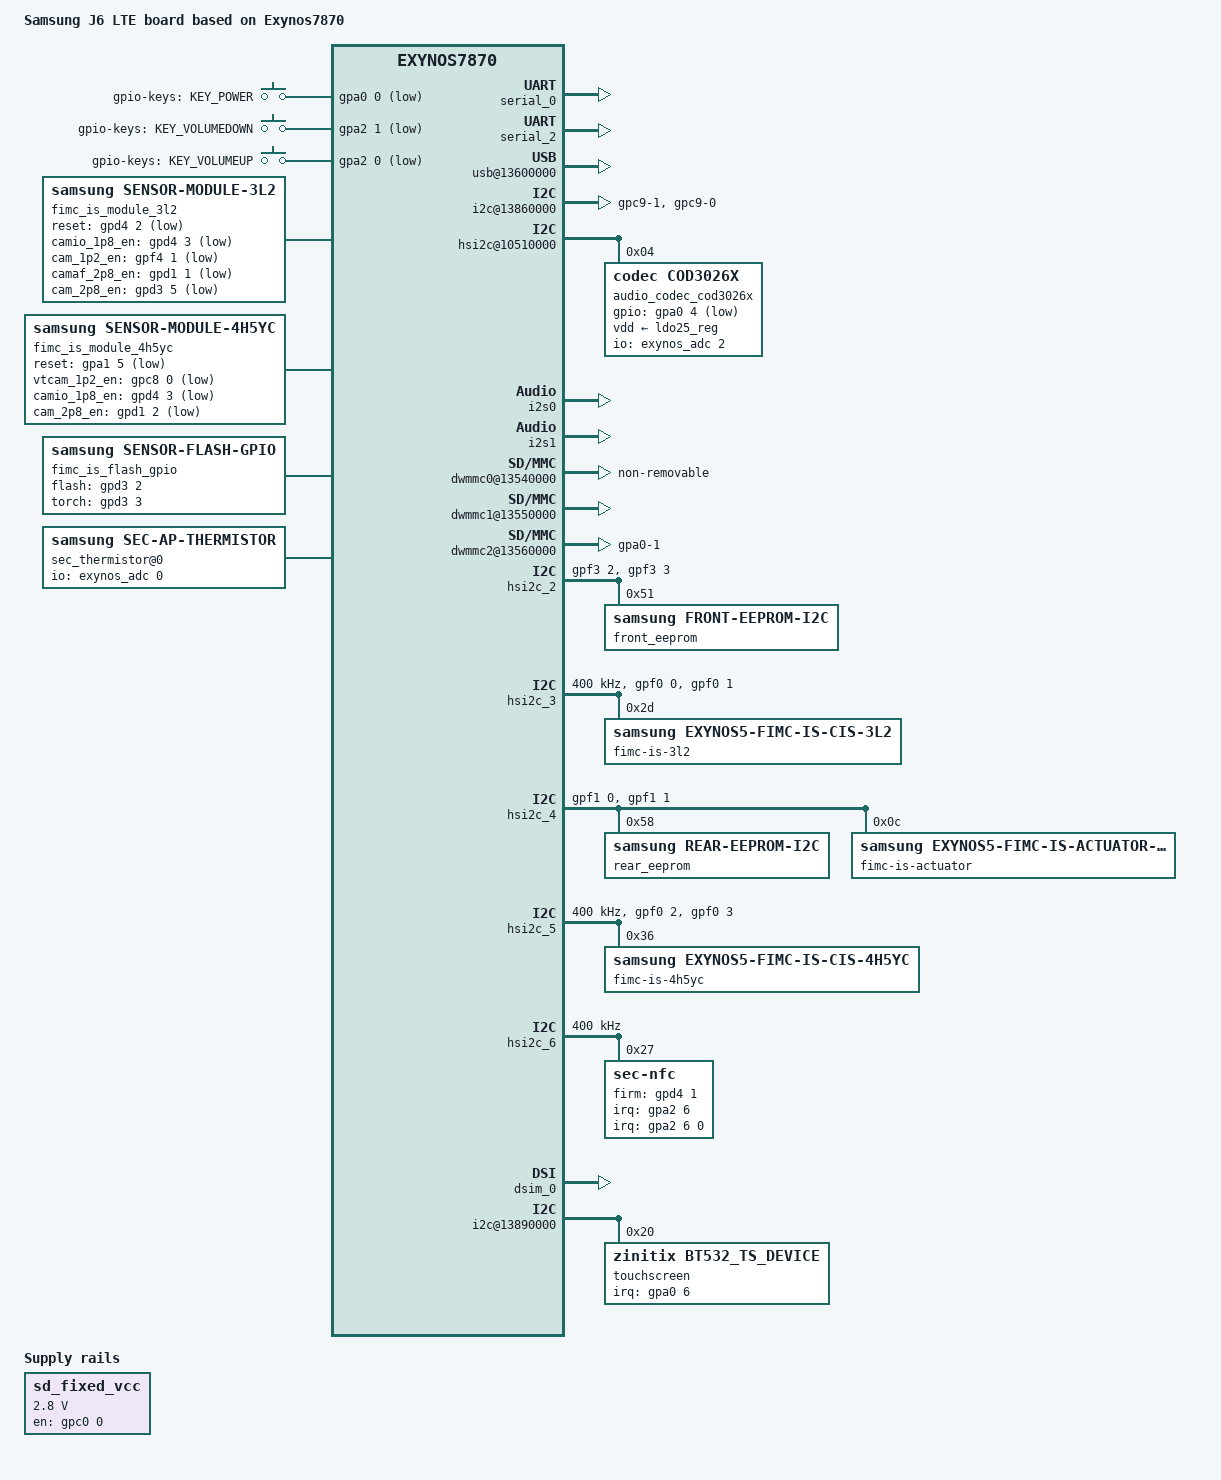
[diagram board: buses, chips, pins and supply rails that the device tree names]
/*
 * SAMSUNG UNIVERSAL8890 board device tree source
 *
 * Copyright (c) 2013 Samsung Electronics Co., Ltd.
 *		http://www.samsung.com
 *
 * This program is free software; you can redistribute it and/or modify
 * it under the terms of the GNU General Public License version 2 as
 * published by the Free Software Foundation.
 */

#include "exynos7870-rmem-2000MB.dtsi"
#include "exynos7870.dtsi"

/ {
	model = "Samsung J6 LTE board based on Exynos7870";
	compatible = "samsung,exynos7870", "samsung,universal7870";

	ect {
		parameter_address = <0x90000000>;
		parameter_size = <0x14000>;	/* u-boot always overwrites this value. */
	};

	memory@40000000 {
		device_type = "memory";
		reg = <0x0 0x40000000 0x3D800000>;
	};

	memory@80000000 {
		device_type = "memory";
		reg = <0x0 0x80000000 0x40000000>;
	};

	memory@100000000 {
		device_type = "memory";
		reg = <0x00000001 0x00000000 0x0>;
	};

	chosen {
		bootargs = "console=ram ess_setup=0x46000000 androidboot.hardware=samsungexynos7870 androidboot.selinux=disabled firmware_class.path=/vendor/firmware androidboot.debug_level=0x4948 reserve-fimc=0";
		linux,initrd-start = <0x42000000>;
		linux,initrd-end = <0x420FFFFF>;
	};

	fixed-rate-clocks {
		oscclk {
			compatible = "samsung,exynos7870-oscclk";
			clock-frequency = <26000000>;
		};
	};

	reserved-memory {
		#address-cells = <2>;
		#size-cells = <1>;
		ranges;

		mfc_fw {
			compatible = "exynos5433-ion,mfc_fw";
			secure;
			reg = <0x0 0xAE800000 0x200000>;
			id = <8>;
		};

		mfc_nfw {
			compatible = "exynos5433-ion,mfc_nfw";
			reg = <0x0 0xAE600000 0x200000>;
			id = <12>;
		};
	};

	serial_0: uart@13810000 {
		status = "okay";
	};

	serial_1: uart@13800000 {
		status = "disabled";
	};

	serial_2: uart@13820000 {
		samsung,uart-logging;
		status = "okay";
	};

	usb@13600000 {
		status = "okay";

		dwc3 {
			maximum-speed = "high-speed";
			dr_mode = "otg";
			is_not_vbus_pad;
		};
	};

	pinctrl_1: pinctrl@148C0000 {
		compatible = "samsung,exynos7870-pinctrl";
		reg = <0x0 0x148C0000 0x1000>;
		interrupts = <0 68 0>;
	};

	pinctrl@139B0000 {
		spk_amp_i2c: spk-amp-i2c {
			samsung,pins = "gpc9-1", "gpc9-0";
			samsung,pin-function = <2>;
			samsung,pin-pud = <0>;
		};
	};

	pinctrl@139F0000 {
		cod3026_irq: cod3026-irq {
			samsung,pins = "gpa0-4";
			samsung,pin-pud = <3>;
			samsung,pin-drv = <3>;
		};
	};

	i2c@13860000 {
		status = "okay";
		samsung,i2c-max-bus-freq = <400000>;
		samsung,i2c-bus-num = <20>;
		pinctrl-names = "default";
		pinctrl-0 = <&spk_amp_i2c>;
	};

	but_zones: but_zones {
		#list-but-cells = <3>;
	};

	hsi2c@10510000 {
		audio_codec_cod3026x: cod3026x@04 {
			compatible = "codec,cod3026x";
			reg = <0x04>;
			ten-bit-address;
			vdd-supply = <&ldo25_reg>;
			pinctrl-names = "default";
			pinctrl-0 = <&cod3026_irq>;
			interrupt-parent = <&gpa0>;
			gpios = <&gpa0 4 0xf>;
			mic-bias1-voltage = <1>;
			mic-bias2-voltage = <1>;
			mic-bias-ldo-voltage = <3>;
			use-det-adc-mode;
			io-channels = <&exynos_adc 2>;
			io-channel-names = "adc-jack";
			#io-channel-cells = <1>;
			io-channel-ranges;
			but-zones-list = <&but_zones 226 0 220>, /* send/end */ 
					<&but_zones 582 221 305>, /* google */
					<&but_zones 115 306 510>, /* vol up */
					<&but_zones 114 511 1107>; /* vol down */
			mic-adc-range = <1347>;
			mic-det-delay = <550>;
		};
	};

	s1402x: s1402x@14880000 {
		pinctrl-names = "default", "idle", "bt", "bt-idle", "fm", "fm-idle";
		pinctrl-0 = <&i2s_pmic_amp_bus
			&i2s_amp_bus>;
		pinctrl-1 = <&i2s_pmic_amp_bus_idle
			&i2s_amp_bus_idle> ;
		pinctrl-2 = <&i2s_bt_bus>;
		pinctrl-3 = <&i2s_bt_bus_idle>;
		pinctrl-4 = <&i2s_bt_bus>;
		pinctrl-5 = <&i2s_bt_bus_idle>;

		bt-fm-combo;
		status = "okay";
	};

	i2s0: i2s@148A0000 {
		status = "okay";
	};

	i2s1: i2s@148B0000 {
		status = "okay";
	};

	audio_cp_dummy: cp_dummy {
			compatible = "samsung,cp_dummy";
			status = "okay";
	};

	audio_fm_dummy: fm_dummy {
			compatible = "samsung,fm_dummy";
			status = "okay";
	};

	audio_bt_dummy: bt_dummy {
			compatible = "samsung,bt_dummy";
			status = "okay";
	};

	audio_codec_dummy: dummy-codec {
			compatible = "samsung,dummy-codec";
			status = "okay";
	};

	sound {
		compatible = "samsung,universal7870-cod3026x";
		samsung,audio-cpu = <&i2s0      /* primary */
			&i2s0                    /* secondary */
			&audio_cp_dummy
			&audio_bt_dummy
			&audio_fm_dummy
			&i2s1			/*AMP for AP */
			&audio_cp_dummy		/*AMP for CP */
			&eax
			&eax
			&eax
			&eax>;
		samsung,audio-codec = <&audio_codec_cod3026x
			&audio_codec_cod3026x
			&audio_codec_cod3026x
			&audio_codec_dummy
			&audio_codec_cod3026x
			&audio_codec_dummy
			&audio_codec_dummy
			&audio_codec_cod3026x
			&audio_codec_cod3026x
			&audio_codec_cod3026x
			&audio_codec_cod3026x>;
		mic-bias-mode = <1 0 2 0>;
		samsung,auxdev = <&s1402x>;
		status = "okay";
	};

	gpio_keys {
		compatible = "gpio-keys";
		pinctrl-names = "default";
		pinctrl-0 = <&key_power &key_voldown &key_volup>;
		#address-cells = <1>;
		#size-cells = <0>;

		button@1 {
			label = "gpio-keys: KEY_POWER";
			interrupts = <0 0 0>;
			interrupt-parent = <&gpa0>;
			linux,code = <116>;
			gpios = <&gpa0 0 0xf>;
			gpio-key,wakeup = <1>;
		};
		button@2 {
			label = "gpio-keys: KEY_VOLUMEDOWN";
			interrupts = <1 0 0>;
			interrupt-parent = <&gpa2>;
			linux,code = <114>;
			gpios = <&gpa2 1 0xf>;
		};
		button@3 {
			label = "gpio-keys: KEY_VOLUMEUP";
			interrupts = <0 0 0>;
			interrupt-parent = <&gpa2>;
			linux,code = <115>;
			gpios = <&gpa2 0 0xf>;
		};
	};

	firmware {
		android {
			compatible = "android,firmware";
			fstab {
				compatible = "android,fstab";
				system {
					compatible = "android,system";
					dev = "/dev/block/platform/13540000.dwmmc0/by-name/SYSTEM";
					type = "ext4";
					mnt_flags = "ro";
					fsmgr_flags = "wait";
				};
				vendor {
					compatible = "android,vendor";
					dev = "/dev/block/platform/13540000.dwmmc0/by-name/VENDOR";
					type = "ext4";
					mnt_flags = "ro";
					fsmgr_flags = "wait";
				};
				odm {
					compatible = "android,odm";
					dev = "/dev/block/platform/13540000.dwmmc0/by-name/ODM";
					type = "ext4";
					mnt_flags = "ro";
					fsmgr_flags = "wait";
				};
			};
		};
	};

	dwmmc0@13540000 {
		status = "okay";
		num-slots = <1>;
		broken-cd;
		use-smu;
		fixed_voltage;
		clock-gate;
		supports-highspeed;
		mmc-ddr-1_8v;
		mmc-hs200-1_8v;
		mmc-hs400-1_8v;
		mmc-shutdown-poweroff;
		pm-skip-mmc-resume-init;
		supports-8bit;
		supports-cmd23;
		supports-erase;
		enable-ulp-mode;
		supports-hs400-enhanced-strobe;
		use-fine-tuning;
		bypass-for-allpass;
		card-init-hwacg-ctrl;
		switch_transfer;
		fifo-depth = <0x40>;
		non-removable;
		desc-size = <4>;
		card-detect-delay = <200>;
		data-timeout = <200>;
		clock-frequency = <800000000>;
		samsung,dw-mshc-ciu-div = <3>;
		samsung,dw-mshc-txdt-crc-timer-fastlimit = <0x34>;
		samsung,dw-mshc-txdt-crc-timer-initval = <0x38>;
		samsung,dw-mshc-ddr200-delay-line = <0x60>;
		samsung,dw-mshc-sdr-timing = <3 0 4 0>;
		samsung,dw-mshc-ddr-timing = <3 0 4 2>;
		samsung,dw-mshc-hs200-timing = <3 0 3 0>;
		samsung,dw-mshc-ddr200-timing = <1 0 4 0>;
		samsung,dw-mshc-ddr200-ulp-timing = <3 0 3 0>;

		num-ref-clks = <12>;
		ciu_clkin = <25 50 50 25 50 100 200 50 50 200 200 200>;

		/* Swapping clock drive strength */
		clk-drive-number = <6>;
		pinctrl-names = "default",
			"fast-slew-rate-1x",
			"fast-slew-rate-2x",
			"fast-slew-rate-3x",
			"fast-slew-rate-4x",
			"fast-slew-rate-5x",
			"fast-slew-rate-6x";
		pinctrl-0 = <&sd0_clk &sd0_cmd &sd0_rdqs &sd0_bus1 &sd0_bus4 &sd0_bus8>;
		pinctrl-1 = <&sd0_clk_fast_slew_rate_1x>;
		pinctrl-2 = <&sd0_clk_fast_slew_rate_2x>;
		pinctrl-3 = <&sd0_clk_fast_slew_rate_3x>;
		pinctrl-4 = <&sd0_clk_fast_slew_rate_4x>;
		pinctrl-5 = <&sd0_clk_fast_slew_rate_5x>;
		pinctrl-6 = <&sd0_clk_fast_slew_rate_6x>;
		slot@0 {
			reg = <0>;
			bus-width = <8>;
		};
	};

	dwmmc1@13550000 {
		status = "okay";
		num-slots = <1>;
		channel = <1>;
		fixed_voltage;
		clock-gate;
		enable-cclk-on-suspend;
		caps-control;
		supports-highspeed;
		supports-4bit;
		keep-power-in-suspend;
		pm-ignore-notify;
		card-detect-type-external;
		use-broken-voltage;
		use-fine-tuning;
		ignore-phase = <(1 << 7)>;
		fifo-depth = <0x40>;
		card-detect-delay = <200>;
		samsung,dw-mshc-ciu-div = <3>;
		samsung,dw-mshc-sdr-timing = <3 0 3 0>;
		samsung,dw-mshc-ddr-timing = <3 0 2 1>;
		samsung,dw-mshc-sdr50-timing = <3 0 4 2>;
		samsung,dw-mshc-sdr104-timing = <3 0 3 0>;
		clk_pin = "gpr2-0";
		clk_addr = "13750000.pinctrl";
		clk_val = <0x2>;
		clk_str_num = <4>;
		num-ref-clks = <9>;
		ciu_clkin = <25 50 50 25 50 100 200 50 50>;

		pinctrl-names = "default";
		pinctrl-0 = <&sd1_clk &sd1_cmd &sd1_bus1 &sd1_bus4>;
		slot@0 {
			reg = <0>;
			bus-width = <4>;
		};
	};

	dwmmc2@13560000 {
		status = "okay";
		num-slots = <1>;
		supports-highspeed;
		supports-4bit;
		supports-cmd23;
		supports-erase;
		sd-uhs-sdr50;
		sd-uhs-sdr104;
		card-detect-gpio;
		clock-gate;
		bypass-smu;
		bypass-for-allpass;
		use-fine-tuning;
		card-init-hwacg-ctrl;
		switch_transfer;
		only_once_tune;
		skip-init-mmc-scan;
		samsung,voltage-int-extra = <0x7>;
		ignore-phase = <(1 << 7)>;
		fifo-depth = <0x40>;
		desc-size = <8>;
		card-detect-delay = <200>;
		data-timeout = <200>;
		hto-timeout = <550>;
		samsung,dw-mshc-ciu-div = <3>;
		clock-frequency = <800000000>;
		samsung,dw-mshc-sdr-timing = <3 0 3 0>;
		samsung,dw-mshc-ddr-timing = <3 0 2 1>;
		samsung,dw-mshc-sdr50-timing = <3 0 4 2>;
		samsung,dw-mshc-sdr104-timing = <3 0 3 0>;

		num-ref-clks = <9>;
		ciu_clkin = <25 50 50 25 50 100 200 50 50>;

		/* Swapping clock drive strength */
		clk-drive-number = <4>;
		pinctrl-names = "default",
			"fast-slew-rate-1x",
			"fast-slew-rate-2x",
			"fast-slew-rate-3x",
			"fast-slew-rate-4x";
		pinctrl-0 = <&sd2_clk &sd2_cmd &sd2_bus1 &sd2_bus4 &dwmmc2_cd_ext_irq>;
		pinctrl-1 = <&sd2_clk_fast_slew_rate_1x>;
		pinctrl-2 = <&sd2_clk_fast_slew_rate_2x>;
		pinctrl-3 = <&sd2_clk_fast_slew_rate_3x>;
		pinctrl-4 = <&sd2_clk_fast_slew_rate_4x>;

		card-detect = <&gpa0 1 0xf>;
		card-detect-gpio;
		sec-sd-slot-type = <2>; /* Hybrid Tray SD slot */

		slot@0 {
			reg = <0>;
			bus-width = <4>;
			disable-wp;
		};
	};

	sd_fixed_vcc: fixedregulator@0 {
		compatible = "regulator-fixed";
		regulator-name = "vmmc";
		gpio = <&gpc0 0 1>;
		regulator-min-microvolt = <2800000>;
		regulator-max-microvolt = <2800000>;
		enable-active-high;
		regulator-initial-mode = <0>;
	};

	pinctrl@139F0000 {
		hall_irq: hall-irq {
			samsung,pins = "gpa1-3";
			samsung,pin-function = <0xf>;
			samsung,pin-pud = <0>;
			samsung,pin-drv = <0>;
		};
	};

	hall {
		status = "okay";
		compatible = "hall";
		pinctrl-names = "default";
		pinctrl-0 = <&hall_irq>;
		hall,gpio_flip_cover = <&gpa1 3 0>;
	};

	sec_vib {
		compatible = "sec_vib";
		sec_vib_pdata {
			status = "okay";
			sec_vib,max_timeout = <10000>;
			sec_vib,ldo_type = <0>;		/* 0: pmic ldo, 1: external ldo */
			sec_vib,regulator = "VDD_MOTOR_3.3";
		};
	};


	pinctrl@139F0000 {
		key_power: key-power {
			samsung,pins = "gpa0-0";
			samsung,pin-function = <0xf>;
			samsung,pin-pud = <0>;
			samsung,pin-drv = <0>;
		};
		dwmmc2_cd_ext_irq: dwmmc2_cd_ext_irq {
			samsung,pins = "gpa0-1";
			samsung,pin-function = <0xf>;
			samsung,pin-pud = <0>;
			samsung,pin-drv = <0>;
		};

		attn_input: attn-input {
			samsung,pins = "gpa0-6";
			samsung,pin-function = <0>;
			samsung,pin-pud = <0>;
			samsung,pin-drv = <0>;
		};
		attn_irq: attn-irq {
			samsung,pins = "gpa0-6";
			samsung,pin-function = <0xf>;
			samsung,pin-pud = <0>;
			samsung,pin-drv = <0>;
		};

		key_voldown: key-voldown {
			samsung,pins = "gpa2-1";
			samsung,pin-function = <0xf>;
			samsung,pin-pud = <0>;
			samsung,pin-drv = <0>;
		};

		key_volup: key-volup {
			samsung,pins = "gpa2-0";
			samsung,pin-function = <0xf>;
			samsung,pin-pud = <0>;
			samsung,pin-drv = <0>;
		};

		pmic_irq: pmic-irq {
			samsung,pins = "gpa0-2";
			samsung,pin-pud = <3>;
			samsung,pin-drv = <3>;
		};

		cfg_wlanhostwake: cfg-wlanhostwake {
			samsung,pins = "gpa2-2";
			samsung,pin-function = <1>;
			samsung,pin-pud = <3>;
		};

		if_irq: if-irq {
			samsung,pins = "gpa2-7";
			samsung,pin-pud = <3>;
			samsung,pin-drv = <3>;
		};


	};

	pinctrl@139E0000 {
		/* SPI_FP */
		spi1_bus_inactive: spi1-bus-inactive {
			samsung,pins = "gpc7-0", "gpc7-1", "gpc7-3";
			samsung,pin-function = <1>;
			samsung,pin-pud = <0>;
			samsung,pin-drv = <2>;
		};
		spi1_miso_inactive: spi1-miso-inactive {
			samsung,pins = "gpc7-2";
			samsung,pin-function = <0>;
			samsung,pin-pud = <1>;
			samsung,pin-drv = <2>;
		};
		spi1_clk: spi1-clk {
			samsung,pins = "gpc7-0";
			samsung,pin-function = <2>;
			samsung,pin-pud = <1>;
			samsung,pin-drv = <2>;
		};
		spi1_cs: spi1-cs {
			samsung,pins = "gpc7-1";
			samsung,pin-function = <2>;
			samsung,pin-pud = <3>;
			samsung,pin-drv = <2>;
		};
		spi1_miso: spi1-miso {
			samsung,pins = "gpc7-2";
			samsung,pin-function = <2>;
			samsung,pin-pud = <0>;
			samsung,pin-drv = <2>;
		};
		spi1_mosi: spi1-mosi {
			samsung,pins = "gpc7-3";
			samsung,pin-function = <2>;
			samsung,pin-pud = <1>;
			samsung,pin-drv = <2>;
		};
	};

	pinctrl@139B0000 {
		/* Warm reset information from AP */
		pm_wrsti: pm-wrsti {
			samsung,pins = "gpd1-0";
			samsung,pin-con-pdn = <3>;
		};
	};

	pinctrl@139B0000 {
		cfg_wlanen: cfg-wlanen  {       /* WLAN_EN */
			samsung,pins = "gpd3-6";
			samsung,pin-function = <1>;
			samsung,pin-pud = <0>;
			samsung,pin-drv = <3>;
			samsung,pin-con-pdn = <3>;
			samsung,pin-pud-pdn = <0>;
			samsung,pin-val = <0>;
		};
	};

	ion {
		compatible = "samsung,exynos5430-ion";
	};

	tmuctrl_0: tmuctrl_CPUCL0@10130000 {
		compatible = "samsung,exynos7870-tmu";
		reg = <0x0 0x10130000 0x200>;
		interrupts = <0 435 0>;
		max_trigger_level = <8>;
		non_hw_trigger_levels = <7>;

		/* Throttling Level */
		trigger_levels_0 = <76>;
		trigger_levels_1 = <81>;
		trigger_levels_2 = <86>;
		trigger_levels_3 = <91>;
		trigger_levels_4 = <96>;
		trigger_levels_5 = <101>;
		trigger_levels_6 = <111>;
		trigger_levels_7 = <115>;

		trigger_enable_0 = <ENABLE>;
		trigger_enable_1 = <ENABLE>;
		trigger_enable_2 = <ENABLE>;
		trigger_enable_3 = <ENABLE>;
		trigger_enable_4 = <ENABLE>;
		trigger_enable_5 = <ENABLE>;
		trigger_enable_6 = <ENABLE>;
		trigger_enable_7 = <ENABLE>;

		trigger_type_0 = <THROTTLE_ACTIVE>;
		trigger_type_1 = <THROTTLE_ACTIVE>;
		trigger_type_2 = <THROTTLE_ACTIVE>;
		trigger_type_3 = <THROTTLE_ACTIVE>;
		trigger_type_4 = <THROTTLE_ACTIVE>;
		trigger_type_5 = <THROTTLE_ACTIVE>;
		trigger_type_6 = <THROTTLE_ACTIVE>;
		trigger_type_7 = <HW_TRIP>;

		freq_tab_count = <5>;

		freq_clip_max_0 = <1586000>;
		freq_clip_max_1 = <1248000>;
		freq_clip_max_2 = <1248000>;
		freq_clip_max_3 = <546000>;
		freq_clip_max_4 = <546000>;

		cooling_level_0 = <76>;
		cooling_level_1 = <81>;
		cooling_level_2 = <86>;
		cooling_level_3 = <91>;
		cooling_level_4 = <96>;
	};

	tmuctrl_1: tmuctrl_CPUCL1@10130000 {
		compatible = "samsung,exynos7870-tmu";
		reg = <0x0 0x10130000 0x200>;
		interrupts = <0 435 0>;
		max_trigger_level = <8>;
		non_hw_trigger_levels = <7>;

		/* Throttling Level */
		trigger_levels_0 = <76>;
		trigger_levels_1 = <81>;
		trigger_levels_2 = <86>;
		trigger_levels_3 = <91>;
		trigger_levels_4 = <96>;
		trigger_levels_5 = <101>;
		trigger_levels_6 = <111>;
		trigger_levels_7 = <115>;

		trigger_enable_0 = <ENABLE>;
		trigger_enable_1 = <ENABLE>;
		trigger_enable_2 = <ENABLE>;
		trigger_enable_3 = <ENABLE>;
		trigger_enable_4 = <ENABLE>;
		trigger_enable_5 = <ENABLE>;
		trigger_enable_6 = <ENABLE>;
		trigger_enable_7 = <ENABLE>;

		trigger_type_0 = <THROTTLE_ACTIVE>;
		trigger_type_1 = <THROTTLE_ACTIVE>;
		trigger_type_2 = <THROTTLE_ACTIVE>;
		trigger_type_3 = <THROTTLE_ACTIVE>;
		trigger_type_4 = <THROTTLE_ACTIVE>;
		trigger_type_5 = <THROTTLE_ACTIVE>;
		trigger_type_6 = <THROTTLE_ACTIVE>;
		trigger_type_7 = <HW_TRIP>;

		freq_tab_count = <5>;

		freq_clip_max_0 = <1586000>;
		freq_clip_max_1 = <1248000>;
		freq_clip_max_2 = <1248000>;
		freq_clip_max_3 = <546000>;
		freq_clip_max_4 = <546000>;

		cooling_level_0 = <76>;
		cooling_level_1 = <81>;
		cooling_level_2 = <86>;
		cooling_level_3 = <91>;
		cooling_level_4 = <96>;

		hotplug_enable = <1>;
		hotplug_in_threshold = <91>;
		hotplug_out_threshold = <96>;
	};

	tmuctrl_2: tmuctrl_G3D@10130000 {
		compatible = "samsung,exynos7870-tmu";
		reg = <0x0 0x10130000 0x200>;
		interrupts = <0 435 0>;
		max_trigger_level = <8>;
		non_hw_trigger_levels = <7>;

		/* Throttling Level */
		trigger_levels_0 = <76>;
		trigger_levels_1 = <81>;
		trigger_levels_2 = <86>;
		trigger_levels_3 = <91>;
		trigger_levels_4 = <96>;
		trigger_levels_5 = <101>;
		trigger_levels_6 = <111>;
		trigger_levels_7 = <115>;

		trigger_enable_0 = <ENABLE>;
		trigger_enable_1 = <ENABLE>;
		trigger_enable_2 = <ENABLE>;
		trigger_enable_3 = <ENABLE>;
		trigger_enable_4 = <ENABLE>;
		trigger_enable_5 = <ENABLE>;
		trigger_enable_6 = <ENABLE>;
		trigger_enable_7 = <ENABLE>;

		trigger_type_0 = <THROTTLE_ACTIVE>;
		trigger_type_1 = <THROTTLE_ACTIVE>;
		trigger_type_2 = <THROTTLE_ACTIVE>;
		trigger_type_3 = <THROTTLE_ACTIVE>;
		trigger_type_4 = <THROTTLE_ACTIVE>;
		trigger_type_5 = <THROTTLE_ACTIVE>;
		trigger_type_6 = <THROTTLE_ACTIVE>;
		trigger_type_7 = <HW_TRIP>;

		freq_tab_count = <6>;

		freq_clip_max_0 = <1246000>;
		freq_clip_max_1 = <1146000>;
		freq_clip_max_2 = <1001000>;
		freq_clip_max_3 = <728000>;
		freq_clip_max_4 = <343000>;
		freq_clip_max_5 = <343000>;

		cooling_level_0 = <76>;
		cooling_level_1 = <81>;
		cooling_level_2 = <86>;
		cooling_level_3 = <91>;
		cooling_level_4 = <96>;
		cooling_level_5 = <101>;

		/* gpu cooling related table */
		gpu_idx_num = <6>;
		/* flags, driver_data(index), frequency */
		gpu_cooling_table = < 0 0 1001000
				      0 1 845000
				      0 2 728000
				      0 3 545000
				      0 4 343000
				      0 5 TABLE_END>;
	};

	/* modem_interface */
	mif_pdata {
		reg = <0 0x10000 0x14>;
		pinctrl-names = "default";

		mif,ap_clk_table = <
			/* khz */
			1586000
			1482000
			1352000
			1248000
			1144000
			1014000
			902000
			839000
			757000
			676000
			546000
			449000
			345000
			>;

		mif,mif_clk_table = <
			/* khz */
			902000
			825000
			728000
			676000
			546000
			451000
			275000
			>;

		mif,int_clk_table = <
			/* khz */
			400000
			334000
			200000
			134000
			>;
	};

	fimc_is@14400000 {
		vender {
			rear_sensor_id = <8>; /* SENSOR_NAME_S5K3L2 */
			front_sensor_id = <24>; /* SENSOR_NAME_S5K4H5YC */
			use_module_check;

			total_camera_num = <2>;
			camera_info0 {				// 0 : rear
				isp = <0>;				/* 0 : INT , 1 : EXT , 2 : SOC */
				cal_memory = <2>;		/* 0 : N , 1 : FROM , 2 : EEPROM , 3 : OTP  */
				read_version = <0>;		/* 0 : SYSFS , 1 : CAMON */

				core_voltage = <0>;		/* 0 : N , 1 : Y  */
				upgrade = <0>;			/* 0 : N , 1 : SYSFS , 2 : CAMON */
				companion = <0>;		/* 0 : N , 1 : Y  */
				ois = <0>;				/* 0 : N , 1 : Y  */
			};
			camera_info1 {				// 1 : front
				isp = <0>;				/* 0 : INT , 1 : EXT , 2 : SOC */
				cal_memory = <2>;		/* 0 : N , 1 : FROM , 2 : EEPROM , 3 : OTP  */
				read_version = <0>;		/* 0 : SYSFS , 1 : CAMON */

				core_voltage = <0>;		/* 0 : N , 1 : Y  */
				upgrade = <0>;			/* 0 : N , 1 : SYSFS , 2 : CAMON */
				companion = <0>;		/* 0 : N , 1 : Y  */
				ois = <0>;				/* 0 : N , 1 : Y  */
			};
		};

		fimc_is_dvfs {
			#define DVFS_INT_L0 400000
			#define DVFS_INT_L1 334000
			#define DVFS_INT_L2 200000
			#define DVFS_INT_L3 134000

			#define DVFS_CAM_L0 533000
			#define DVFS_CAM_L1 334000
			#define DVFS_CAM_L2 167000

			#define DVFS_MIF_L0 902000
			#define DVFS_MIF_L1 836000
			#define DVFS_MIF_L2 728000
			#define DVFS_MIF_L3 676000
			#define DVFS_MIF_L4 546000
			#define DVFS_MIF_L5 451000
			#define DVFS_MIF_L6 275000

			table0 {
				desc = "default Max version";

				default_int = <0>;
				default_cam = <DVFS_CAM_L0>;
				default_mif = <DVFS_MIF_L0>;
				default_i2c = <0>;

				front_preview_int = <0>;
				front_preview_cam = <DVFS_CAM_L0>;
				front_preview_mif = <DVFS_MIF_L0>;
				front_preview_i2c = <0>;

				front_capture_int = <0>;
				front_capture_cam = <DVFS_CAM_L0>;
				front_capture_mif = <DVFS_MIF_L0>;
				front_capture_i2c = <0>;

				front_video_int = <0>;
				front_video_cam = <DVFS_CAM_L0>;
				front_video_mif = <DVFS_MIF_L0>;
				front_video_i2c = <0>;

				front_video_whd_int = <0>;
				front_video_whd_cam = <DVFS_CAM_L0>;
				front_video_whd_mif = <DVFS_MIF_L0>;
				front_video_whd_i2c = <0>;

				front_video_capture_int = <0>;
				front_video_capture_cam = <DVFS_CAM_L0>;
				front_video_capture_mif = <DVFS_MIF_L0>;
				front_video_capture_i2c = <0>;

				front_video_whd_capture_int = <0>;
				front_video_whd_capture_cam = <DVFS_CAM_L0>;
				front_video_whd_capture_mif = <DVFS_MIF_L0>;
				front_video_whd_capture_i2c = <0>;

				front_vt1_int = <0>;
				front_vt1_cam = <DVFS_CAM_L0>;
				front_vt1_mif = <DVFS_MIF_L0>;
				front_vt1_i2c = <0>;

				front_vt2_int = <0>;
				front_vt2_cam = <DVFS_CAM_L0>;
				front_vt2_mif = <DVFS_MIF_L0>;
				front_vt2_i2c = <0>;

				front_companion_preview_int = <0>;
				front_companion_preview_cam = <DVFS_CAM_L0>;
				front_companion_preview_mif = <DVFS_MIF_L0>;
				front_companion_preview_i2c = <0>;

				front_companion_capture_int = <0>;
				front_companion_capture_cam = <DVFS_CAM_L0>;
				front_companion_capture_mif = <DVFS_MIF_L0>;
				front_companion_capture_i2c = <0>;

				front_companion_video_int = <0>;
				front_companion_video_cam = <DVFS_CAM_L0>;
				front_companion_video_mif = <DVFS_MIF_L0>;
				front_companion_video_i2c = <0>;

				front_companion_video_whd_int = <0>;
				front_companion_video_whd_cam = <DVFS_CAM_L0>;
				front_companion_video_whd_mif = <DVFS_MIF_L0>;
				front_companion_video_whd_i2c = <0>;

				front_companion_video_capture_int = <0>;
				front_companion_video_capture_cam = <DVFS_CAM_L0>;
				front_companion_video_capture_mif = <DVFS_MIF_L0>;
				front_companion_video_capture_i2c = <0>;

				front_companion_video_whd_capture_int = <0>;
				front_companion_video_whd_capture_cam = <DVFS_CAM_L0>;
				front_companion_video_whd_capture_mif = <DVFS_MIF_L0>;
				front_companion_video_whd_capture_i2c = <0>;

				rear_preview_fhd_int = <0>;
				rear_preview_fhd_cam = <DVFS_CAM_L0>;
				rear_preview_fhd_mif = <DVFS_MIF_L0>;
				rear_preview_fhd_i2c = <0>;

				rear_preview_whd_int = <0>;
				rear_preview_whd_cam = <DVFS_CAM_L0>;
				rear_preview_whd_mif = <DVFS_MIF_L0>;
				rear_preview_whd_i2c = <0>;

				rear_preview_uhd_int = <0>;
				rear_preview_uhd_cam = <DVFS_CAM_L0>;
				rear_preview_uhd_mif = <DVFS_MIF_L0>;
				rear_preview_uhd_i2c = <0>;

				rear_capture_int = <0>;
				rear_capture_cam = <DVFS_CAM_L0>;
				rear_capture_mif = <DVFS_MIF_L0>;
				rear_capture_i2c = <0>;

				rear_video_fhd_int = <0>;
				rear_video_fhd_cam = <DVFS_CAM_L0>;
				rear_video_fhd_mif = <DVFS_MIF_L0>;
				rear_video_fhd_i2c = <0>;

				rear_video_whd_int = <0>;
				rear_video_whd_cam = <DVFS_CAM_L0>;
				rear_video_whd_mif = <DVFS_MIF_L0>;
				rear_video_whd_i2c = <0>;

				rear_video_uhd_int = <0>;
				rear_video_uhd_cam = <DVFS_CAM_L0>;
				rear_video_uhd_mif = <DVFS_MIF_L0>;
				rear_video_uhd_i2c = <0>;

				rear_video_fhd_capture_int = <0>;
				rear_video_fhd_capture_cam = <DVFS_CAM_L0>;
				rear_video_fhd_capture_mif = <DVFS_MIF_L0>;
				rear_video_fhd_capture_i2c = <0>;

				rear_video_whd_capture_int = <0>;
				rear_video_whd_capture_cam = <DVFS_CAM_L0>;
				rear_video_whd_capture_mif = <DVFS_MIF_L0>;
				rear_video_whd_capture_i2c = <0>;

				rear_video_uhd_capture_int = <0>;
				rear_video_uhd_capture_cam = <DVFS_CAM_L0>;
				rear_video_uhd_capture_mif = <DVFS_MIF_L0>;
				rear_video_uhd_capture_i2c = <0>;

				dual_preview_int = <0>;
				dual_preview_cam = <DVFS_CAM_L0>;
				dual_preview_mif = <DVFS_MIF_L0>;
				dual_preview_i2c = <0>;

				dual_capture_int = <0>;
				dual_capture_cam = <DVFS_CAM_L0>;
				dual_capture_mif = <DVFS_MIF_L0>;
				dual_capture_i2c = <0>;

				dual_video_int = <0>;
				dual_video_cam = <DVFS_CAM_L0>;
				dual_video_mif = <DVFS_MIF_L0>;
				dual_video_i2c = <0>;

				dual_video_capture_int = <0>;
				dual_video_capture_cam = <DVFS_CAM_L0>;
				dual_video_capture_mif = <DVFS_MIF_L0>;
				dual_video_capture_i2c = <0>;

				preview_high_speed_fps_int = <0>;
				preview_high_speed_fps_cam = <DVFS_CAM_L2>;
				preview_high_speed_fps_mif = <DVFS_MIF_L0>;
				preview_high_speed_fps_i2c = <0>;

				video_high_speed_60fps_int = <0>;
				video_high_speed_60fps_cam = <DVFS_CAM_L1>;
				video_high_speed_60fps_mif = <DVFS_MIF_L0>;
				video_high_speed_60fps_i2c = <0>;

				video_high_speed_120fps_int = <0>;
				video_high_speed_120fps_cam = <DVFS_CAM_L1>;
				video_high_speed_120fps_mif = <DVFS_MIF_L0>;
				video_high_speed_120fps_i2c = <0>;

				video_high_speed_240fps_int = <0>;
				video_high_speed_240fps_cam = <DVFS_CAM_L0>;
				video_high_speed_240fps_mif = <DVFS_MIF_L0>;
				video_high_speed_240fps_i2c = <0>;

				max_int = <DVFS_INT_L0>;
				max_cam = <DVFS_CAM_L0>;
				max_mif = <DVFS_MIF_L0>;
				max_i2c = <0>;
			};

			table1 {
				desc = "HAL3 version";

				default_int = <0>;
				default_cam = <DVFS_CAM_L0>;
				default_mif = <DVFS_MIF_L0>;
				default_i2c = <0>;

				front_preview_int = <DVFS_INT_L1>;
				front_preview_cam = <DVFS_CAM_L0>;
				front_preview_mif = <DVFS_MIF_L0>;
				front_preview_i2c = <0>;

				front_capture_int = <0>;
				front_capture_cam = <DVFS_CAM_L0>;
				front_capture_mif = <DVFS_MIF_L0>;
				front_capture_i2c = <0>;

				front_video_int = <0>;
				front_video_cam = <DVFS_CAM_L0>;
				front_video_mif = <DVFS_MIF_L0>;
				front_video_i2c = <0>;

				front_video_whd_int = <0>;
				front_video_whd_cam = <DVFS_CAM_L0>;
				front_video_whd_mif = <DVFS_MIF_L0>;
				front_video_whd_i2c = <0>;

				front_video_capture_int = <0>;
				front_video_capture_cam = <DVFS_CAM_L0>;
				front_video_capture_mif = <DVFS_MIF_L0>;
				front_video_capture_i2c = <0>;

				front_video_whd_capture_int = <0>;
				front_video_whd_capture_cam = <DVFS_CAM_L0>;
				front_video_whd_capture_mif = <DVFS_MIF_L0>;
				front_video_whd_capture_i2c = <0>;

				front_vt1_int = <0>;
				front_vt1_cam = <DVFS_CAM_L0>;
				front_vt1_mif = <DVFS_MIF_L0>;
				front_vt1_i2c = <0>;

				front_vt2_int = <0>;
				front_vt2_cam = <DVFS_CAM_L0>;
				front_vt2_mif = <DVFS_MIF_L0>;
				front_vt2_i2c = <0>;

				front_companion_preview_int = <0>;
				front_companion_preview_cam = <DVFS_CAM_L0>;
				front_companion_preview_mif = <DVFS_MIF_L0>;
				front_companion_preview_i2c = <0>;

				front_companion_capture_int = <0>;
				front_companion_capture_cam = <DVFS_CAM_L0>;
				front_companion_capture_mif = <DVFS_MIF_L0>;
				front_companion_capture_i2c = <0>;

				front_companion_video_int = <0>;
				front_companion_video_cam = <DVFS_CAM_L0>;
				front_companion_video_mif = <DVFS_MIF_L0>;
				front_companion_video_i2c = <0>;

				front_companion_video_whd_int = <0>;
				front_companion_video_whd_cam = <DVFS_CAM_L0>;
				front_companion_video_whd_mif = <DVFS_MIF_L0>;
				front_companion_video_whd_i2c = <0>;

				front_companion_video_capture_int = <0>;
				front_companion_video_capture_cam = <DVFS_CAM_L0>;
				front_companion_video_capture_mif = <DVFS_MIF_L0>;
				front_companion_video_capture_i2c = <0>;

				front_companion_video_whd_capture_int = <0>;
				front_companion_video_whd_capture_cam = <DVFS_CAM_L0>;
				front_companion_video_whd_capture_mif = <DVFS_MIF_L0>;
				front_companion_video_whd_capture_i2c = <0>;

				rear_preview_fhd_int = <DVFS_INT_L1>;
				rear_preview_fhd_cam = <DVFS_CAM_L0>;
				rear_preview_fhd_mif = <DVFS_MIF_L0>;
				rear_preview_fhd_i2c = <0>;

				rear_preview_whd_int = <0>;
				rear_preview_whd_cam = <DVFS_CAM_L0>;
				rear_preview_whd_mif = <DVFS_MIF_L0>;
				rear_preview_whd_i2c = <0>;

				rear_preview_uhd_int = <0>;
				rear_preview_uhd_cam = <DVFS_CAM_L0>;
				rear_preview_uhd_mif = <DVFS_MIF_L0>;
				rear_preview_uhd_i2c = <0>;

				rear_capture_int = <0>;
				rear_capture_cam = <DVFS_CAM_L0>;
				rear_capture_mif = <DVFS_MIF_L0>;
				rear_capture_i2c = <0>;

				rear_video_fhd_int = <0>;
				rear_video_fhd_cam = <DVFS_CAM_L0>;
				rear_video_fhd_mif = <DVFS_MIF_L0>;
				rear_video_fhd_i2c = <0>;

				rear_video_whd_int = <0>;
				rear_video_whd_cam = <DVFS_CAM_L0>;
				rear_video_whd_mif = <DVFS_MIF_L0>;
				rear_video_whd_i2c = <0>;

				rear_video_uhd_int = <0>;
				rear_video_uhd_cam = <DVFS_CAM_L0>;
				rear_video_uhd_mif = <DVFS_MIF_L0>;
				rear_video_uhd_i2c = <0>;

				rear_video_fhd_capture_int = <0>;
				rear_video_fhd_capture_cam = <DVFS_CAM_L0>;
				rear_video_fhd_capture_mif = <DVFS_MIF_L0>;
				rear_video_fhd_capture_i2c = <0>;

				rear_video_whd_capture_int = <0>;
				rear_video_whd_capture_cam = <DVFS_CAM_L0>;
				rear_video_whd_capture_mif = <DVFS_MIF_L0>;
				rear_video_whd_capture_i2c = <0>;

				rear_video_uhd_capture_int = <0>;
				rear_video_uhd_capture_cam = <DVFS_CAM_L0>;
				rear_video_uhd_capture_mif = <DVFS_MIF_L0>;
				rear_video_uhd_capture_i2c = <0>;

				dual_preview_int = <0>;
				dual_preview_cam = <DVFS_CAM_L0>;
				dual_preview_mif = <DVFS_MIF_L0>;
				dual_preview_i2c = <0>;

				dual_capture_int = <0>;
				dual_capture_cam = <DVFS_CAM_L0>;
				dual_capture_mif = <DVFS_MIF_L0>;
				dual_capture_i2c = <0>;

				dual_video_int = <0>;
				dual_video_cam = <DVFS_CAM_L0>;
				dual_video_mif = <DVFS_MIF_L0>;
				dual_video_i2c = <0>;

				dual_video_capture_int = <0>;
				dual_video_capture_cam = <DVFS_CAM_L0>;
				dual_video_capture_mif = <DVFS_MIF_L0>;
				dual_video_capture_i2c = <0>;

				preview_high_speed_fps_int = <0>;
				preview_high_speed_fps_cam = <DVFS_CAM_L2>;
				preview_high_speed_fps_mif = <DVFS_MIF_L0>;
				preview_high_speed_fps_i2c = <0>;

				video_high_speed_60fps_int = <0>;
				video_high_speed_60fps_cam = <DVFS_CAM_L1>;
				video_high_speed_60fps_mif = <DVFS_MIF_L0>;
				video_high_speed_60fps_i2c = <0>;

				video_high_speed_120fps_int = <0>;
				video_high_speed_120fps_cam = <DVFS_CAM_L1>;
				video_high_speed_120fps_mif = <DVFS_MIF_L0>;
				video_high_speed_120fps_i2c = <0>;

				video_high_speed_240fps_int = <0>;
				video_high_speed_240fps_cam = <DVFS_CAM_L0>;
				video_high_speed_240fps_mif = <DVFS_MIF_L0>;
				video_high_speed_240fps_i2c = <0>;

				max_int = <DVFS_INT_L0>;
				max_cam = <DVFS_CAM_L0>;
				max_mif = <DVFS_MIF_L0>;
				max_i2c = <0>;
			};
		};
	};

	pinctrl@139B0000 {
		fimc_is_mclk0_default: fimc_is_mclk0_default {
			samsung,pins = "gpe0-0";
			samsung,pin-function = <0>;
			samsung,pin-pud = <1>;
			samsung,pin-drv = <1>;
		};

		fimc_is_mclk0_in: fimc_is_mclk0_in {
			samsung,pins = "gpe0-0";
			samsung,pin-function = <0>;
			samsung,pin-pud = <1>;
			samsung,pin-drv = <1>;
		};

		fimc_is_mclk0_fn: fimc_is_mclk0_fn {
			samsung,pins = "gpe0-0";
			samsung,pin-function = <2>;
			samsung,pin-pud = <0>;
			samsung,pin-drv = <1>;
		};


		fimc_is_mclk1_default: fimc_is_mclk1_default {
			samsung,pins = "gpe0-1";
			samsung,pin-function = <0>;
			samsung,pin-pud = <1>;
			samsung,pin-drv = <1>;
		};

		fimc_is_mclk1_in: fimc_is_mclk1_in {
			samsung,pins = "gpe0-1";
			samsung,pin-function = <0>;
			samsung,pin-pud = <1>;
			samsung,pin-drv = <1>;
		};

		fimc_is_mclk1_fn: fimc_is_mclk1_fn {
			samsung,pins = "gpe0-1";
			samsung,pin-function = <2>;
			samsung,pin-pud = <0>;
			samsung,pin-drv = <1>;
		};
	};

	/* TEEgris */
	tgris {
		compatible = "samsung,blowfish";
		interrupts = <0 436 0>, <0 437 0>;
	};

	fimc_is_module_3l2: fimc-is_sensor_3l2@2D {
		compatible = "samsung,sensor-module-3l2";

		pinctrl-names = "default", "pin0", "pin1";
		pinctrl-0 = <&fimc_is_mclk0_default>; /*need to config for drv strength*/
		pinctrl-1 = <&fimc_is_mclk0_in>;
		pinctrl-2 = <&fimc_is_mclk0_fn>;

		position = <0>; /* Rear:0. Front:1 */
		id = <0>; /* sensor node id */
		mclk_ch = <0>;
		sensor_i2c_ch = <0>; /* I2C 0 */
		sensor_i2c_addr = <0x5A>;

		gpio_reset = <&gpd4 2 0x1>; /* sensor reset */
		gpio_camio_1p8_en = <&gpd4 3 0x1>; /* VDD_CAM_IO_1P8_EN */
		gpio_cam_1p2_en = <&gpf4 1 0x1>; /* CAM_CORE_EN */
		gpio_camaf_2p8_en = <&gpd1 1 0x1>; /* RCAM_AF_2P8_EN */
		gpio_cam_2p8_en = <&gpd3 5 0x1>; /* CAM_MAIN_2P8_EN */
		status = "okay";

		af {
			product_name = <13>; /* ACTUATOR_NAME_DW9807 */
			i2c_addr = <0x18>;
			i2c_ch = <1>;
		};

		flash {
			product_name = <11>; /* FLASH_GPIO */
			flash_first_gpio = <2>;
			flash_second_gpio = <1>;
		};
	};

	fimc_is_module_4h5yc: fimc-is_sensor_4h5yc@10 {
		compatible = "samsung,sensor-module-4h5yc";

		pinctrl-names = "default", "pin0", "pin1";
		pinctrl-0 = <&fimc_is_mclk1_default>; /*need to config for drv strength*/
		pinctrl-1 = <&fimc_is_mclk1_in>;
		pinctrl-2 = <&fimc_is_mclk1_fn>;

		position = <1>; /* Rear:0. Front:1 */
		id = <1>; /* sensor node id */
		mclk_ch = <1>;
		sensor_i2c_ch = <1>;
		sensor_i2c_addr = <0x36>;

		gpio_reset = <&gpa1 5 0x1>; /* sensor reset */
		gpio_vtcam_1p2_en = <&gpc8 0 0x1>; /* VTCAM_CORE_EN */
		gpio_camio_1p8_en = <&gpd4 3 0x1>; /* VDD_CAM_IO_1P8_EN */
		gpio_cam_2p8_en = <&gpd1 2 0x1>; /* VTCAM_A2P8_EN */
		status = "okay";
	};

	fimc_is_flash_gpio: fimc-is-flash_gpio@0 {
		compatible = "samsung,sensor-flash-gpio";
		id = <0>; /* Rear  */
		status = "okay";

		flash-gpio = <&gpd3 2 0>;
		torch-gpio = <&gpd3 3 0>;
	};

	hsi2c_2: hsi2c@13960000 {
		gpios = <&gpf3 2 0 &gpf3 3 0>;
		status = "okay";
		samsung,i2c-sda-delay = <100>;
		samsung,i2c-max-bus-freq = <400000>;

		pinctrl-names = "default";
		pinctrl-0 = <&hs_i2c2_bus>;

		front_eeprom@51 {
			compatible = "samsung,front-eeprom-i2c";
			reg = <0x51>;
		};
	};

	hsi2c_3: hsi2c@138A0000 {
		gpios = <&gpf0 0 0 &gpf0 1 0>;
		status = "okay";
		clock-frequency = <400000>;

		pinctrl-names = "default";
		pinctrl-0 = <&hs_i2c3_bus>;

		fimc-is-3l2@2D {
			compatible = "samsung,exynos5-fimc-is-cis-3l2";
			reg = <0x2D>;
			id = <0>; /* matching sensor id */
			fnum = <2>; /* F1_9 : fimc-is-param.h */
			setfile = "setB";
		};
	};

	hsi2c_4: hsi2c@138B0000 {
		gpios = <&gpf1 0 0 &gpf1 1 0>;
		status = "okay";
		samsung,i2c-sda-delay = <100>;
		samsung,i2c-max-bus-freq = <400000>;

		pinctrl-names = "default";
		pinctrl-0 = <&hs_i2c4_bus>;

		rear_eeprom@58 {
			compatible = "samsung,rear-eeprom-i2c";
			reg = <0x58>;
		};

		fimc-is-actuator@0C {
			compatible = "samsung,exynos5-fimc-is-actuator-dw9807";
			reg = <0x0C>;
			id = <0>; /* matching sensor id */
		};
	};

	hsi2c_5: hsi2c@138C0000 {
		gpios = <&gpf0 2 0 &gpf0 3 0>;
		status = "okay";
		clock-frequency = <400000>;

		pinctrl-names = "default";
		pinctrl-0 = <&hs_i2c5_bus>;

		fimc-is-4h5yc@10 {
			compatible = "samsung,exynos5-fimc-is-cis-4h5yc";
			reg = <0x36>;
			id = <1>; /* matching sensor id */
			fnum = <2>; /* F1_9 : fimc-is-param.h */
			setfile = "setB"; /*EVT 01*/
		};
	};

	pinctrl@139B0000 {
		nfc_det: nfc-det {
			samsung,pins = "gpc0-2";
			samsung,pin-function = <0>;
			samsung,pin-pud = <0>;
		};

		nfc_pvdd_en: nfc-pvdd-en {
			samsung,pins = "gpd2-1";
			samsung,pin-function = <1>;
			samsung,pin-pud = <1>;
			samsung,pin-drv = <3>;
		};

		nfc_n5_firm: nfc_n5_firm {
			samsung,pins = "gpd4-1";
			samsung,pin-function = <1>;
			samsung,pin-pud = <1>;
			samsung,pin-val = <0>;
		};
	};
	
	hsi2c_6: hsi2c@138F0000 {
		status = "okay";
		clock-frequency = <400000>;

		sec-nfc@27 {
			compatible = "sec-nfc";
			reg = <0x27>;
			interrupts = <6 0 0>;
			interrupt-parent = <&gpa2>;
			sec-nfc,nfc_pd = <&gpc2 2 0x2>;
			sec-nfc,firm-gpio = <&gpd4 1 0>;
			sec-nfc,irq-gpio = <&gpa2 6 0>;
			clkctrl-reg = <0x1048600C>;
			sec-nfc,nfc_clkreq = <&gpc2 3 0x2>;
			sec-nfc,pvdd_en = <&gpd2 1 0>;
			sec-nfc,check_nfc = <&gpc0 2 0x0>;
			pinctrl-names = "default";
			pinctrl-0 = <&nfc_n5_firm &nfc_n5_clk_req &nfc_pd &nfc_int &nfc_pvdd_en &nfc_det>;
		};
	};

	#define SENSOR_SCENARIO_NORMAL		0
	#define SENSOR_SCENARIO_VISION		1
	#define SENSOR_SCENARIO_EXTERNAL	2
	#define SENSOR_SCENARIO_OIS_FACTORY	3
	#define SENSOR_SCENARIO_VIRTUAL		9
	#define FLITE_ID_NOTHING 100

	fimc_is_sensor0: fimc_is_sensor@14420000 {
		scenario = <SENSOR_SCENARIO_NORMAL>;	/* Normal, Vision, OIS etc */
		id = <0>;
		csi_ch = <0>;
		flite_ch = <0>;
		is_bns = <1>;
		status = "okay";
	};

	fimc_is_sensor1: fimc_is_sensor@14460000 {
		scenario = <SENSOR_SCENARIO_NORMAL>;	/* Normal, Vision, OIS etc */
		id = <1>;
		csi_ch = <1>;
		flite_ch = <0>;
		is_bns = <1>;
		status = "okay";
	};

	decon_fb@14830000 {
		psr_mode = <0>;		/* 0: video mode, 1: DP command mode, 2: MIPI command mode */
		trig_mode = <1>;	/* 0: hw trigger, 1: sw trigger */
		disp-pll-clk = <73000000>;
		disp-vclk = <73000000>;
		disp-eclk = <200000000>;
		disp-dvfs = <200000>;
		status = "okay";
	};

	dsim_0: dsim@14800000 {
		lcd_info = <&s6e8aa5x01>;
		decon_board = <&decon_board>;
		status = "okay";
	};

	decon_board: decon_board {
		gpio_lcd_rst = <&gpd3 4 0x1>;

		dsim_set_panel_power_enable {
			type =
			"regulator,enable",	"LCD_3P0",
			"regulator,enable",	"LCD_1P8",
			"delay,usleep",	"5000 6000";
		};
		dsim_set_panel_power_disable {
			type =
			"gpio,low",	"gpio_lcd_rst",
			"delay,usleep",	"1000 1100",
			"regulator,disable",	"LCD_1P8",
			"regulator,disable",	"LCD_3P0";
		};
		dsim_reset_panel {
			type =
			"gpio,high",	"gpio_lcd_rst",
			"delay,usleep",	"5000 6000",
			"gpio,low",	"gpio_lcd_rst",
			"delay,usleep",	"5000 6000",
			"gpio,high",	"gpio_lcd_rst",
			"delay,usleep",	"10000 11000";
		};
	};

	s6e8aa5x01: s6e8aa5x01 {
		mode = <0>; /* 0: video mode, 1: DP command mode, 2: MIPI command mode */
		panel_name = "s6e8aa5x01";
		resolution = <720 1480>;
		size = <62 128>;	/* 62.35 x 128.17 */
		ddi_type = <0>;
		timing,refresh = <60>;
		/* HBP HFP HSW */
		timing,h-porch = <26 62 2>;
		/* VBP VFP VSW */
		timing,v-porch = <10 12 2>;
		timing,dsi-hs-clk = <500>;
		timing,dsi-escape-clk = <16>;
		timing,pms = <1 77 2>;
	};

	sec_thermistor@0 {
		compatible = "samsung,sec-ap-thermistor";
		status = "okay";

		adc_array = <268 312 367 439 514 604 722 796 851 903
					993 1054 1088 1149 1216 1328 1445 1526 1609 1732
					1860 1951 2176 2394 2621 2819 2900 3007 3112 3181
					3306 3435 3546>;
		temp_array = <900 850 800 750 700 650 600 570 550 530
					500 480 470 450 430 400 370 350 330 300
					270 250 200 150 100 50 30 0 (-30) (-50)
					(-100) (-150) (-200)>;
		io-channels = <&exynos_adc 0>;
		io-channel-names = "adc-ap-temp";
		io-channel-ranges;
	};

	pinctrl@13750000 {
		sd1_cmd: sd1-cmd {
			samsung,pin-pud = <3>;
		};
	};

	argos {
		compatible = "samsung,argos";
		#address-cells = <1>;
		/* The device number should be assigned for each device, e.g. "boot_device@1" and "boot_device@2".
		 * Duplicated number is not allowed. Please refer the below example.
		 */

		/* Table Format should be
		 * <Throughput(Mbps) ARM_min ARM_max KFC_min KFC_max MIF INT Task IRQ>
		 * ARM_min : Big Core's minimum frequency lock. 0 means not set,
		 * ARM_max : Big Core's maximum frequency lock. 0 means not set,
		 * KFC_min : Little Core's minimum frequency lock. 0 means not set,
		 * KFC_max : Little Core's maximum frequency lock. 0 means not set,
		 * MIF : MIF frequency lock. 0 means not set,
		 * INT : INT frequency lock. 0 means not set,
		 * Task : 1 - Set task affinity lock.
		 *        0 - Not set or unlock,
		 *              Task affinity should be predefined driver's code.
		 * IRQ : 1 - Set irq affinity lock.
		 *       0 - Not set or unlock,
		 *              Task affinity should be predefined driver's code.
		 */
		boot_device@1 {
			net_boost,label="IPC";
			net_boost,node="rmnet0 rmnet1 rmnet2 rmnet3 rmnet4 rmnet5 rmnet6 rmnet7 umts_dm0";
			net_boost,table_size = <4>;
			net_boost,table= <
				1 0 0 0 0 0 0 0 1
				20 0 0 839000 0 546000 100000 0 1
				50 0 0 1014000 0 836000 100000 0 1
				100 0 0 1482000 0 902000 100000 0 1
				>;
		};
		boot_device@2 {
			net_boost,label="P2P";
			net_boost,node="p2p-wlan0-0";
			net_boost,table_size = <3>;
			net_boost,table= <
				30 1014000 0 1014000 0 0 0 0 0
				50 1248000 0 1248000 0 0 0 0 0
				90 1352000 0 1352000 0 0 0 0 0
				>;
		};
		boot_device@3 {
			net_boost,label="USB";
			net_boost,node="rndis0";
			net_boost,table_size = <1>;
			net_boost,table= <  1 0 0 0 0 0 0 0 1 >;
		};
		boot_device@4 {
			net_boost,label="CLAT";
			net_boost,node="clat clat4 v4-rmnet0 v4-rmnet1 v4-rmnet2 v4-rmnet3 v4-rmnet4 v4-rmnet5 v4-rmnet6 v4-rmnet7";
			net_boost,table_size = <3>;
			net_boost,table= <
				120 1352000 0 0 0 902000 0 0 0
				130 1482000 0 0 0 902000 0 0 0
				150 1586000 0 0 0 902000 0 0 0
				>;
		};
		boot_device@5 {
			net_boost,label="WIFI";
			net_boost,node="wlan0";
			net_boost,table_size = <2>;
			net_boost,table= <
				50 0 0 0 0 0 0 0 0
				150 0 0 0 0 0 0 0 0
				>;
		};
		boot_device@6 {
			net_boost,label="WIFI TX";
			net_boost,node="wlan0";
			net_boost,table_size = <2>;
			net_boost,table= <
				20 1000000 0 800000 0 0 200000 0 0
				60 1586000 0 1586000 0 0 200000 0 0
				>;
		};
		boot_device@7 {
			net_boost,label="WIFI RX";
			net_boost,node="wlan0";
			net_boost,table_size = <3>;
			net_boost,table= <
				100 1066000 0 1066000 0 0 0 0 0
				150 1378000 0 1378000 0 0 0 0 0
				200 1586000 0 1586000 0 845000 400000 0 0
				>;
		};

		/* Example
		   boot_device@2 {
		   net_boost,label="EMMC";
		   net_boost,node="";
		   net_boost,sysnode="/sys/class/mmc_host/mmc0/trans_count";
		   net_boost,table_size = <1>;
		   net_boost,table= <64 0 0 1300000 0 825000 400000 0 0>;
		   };
		   boot_device@3 {
		   net_boost,label="WIFI";
		   net_boost,node="wlan0";
		   net_boost,table_size = <3>;
		   net_boost,table= <60 1000000 0 800000 0 0 200000 0 0
		   100 1200000 0 1000000 0 0 200000 0 0
		   180 1700000 0 1100000 0 543000 267000 0 0>;
		   };
		   boot_device@4 {
		   net_boost,label="P2P";
		   net_boost,node="p2p-wlan0-0";
		   net_boost,table_size = <3>;
		   net_boost,table= <30 1000000 0 800000 0 0 200000 0 0
		   50 1200000 0 1000000 0 0 200000 0 0
		   90 1700000 0 1100000 0 543000 267000 0 0>;
		   };
		   boot_device@5 {
		   net_boost,label="CLAT";
		   net_boost,node="clat clat4";
		   net_boost,table_size = <3>;
		   net_boost,table= <120 1400000 0 0 0 825000 0 0 0
		   130 1500000 0 0 0 825000 0 0 0
		   150 1600000 0 0 0 825000 0 0 0>;
		   };
		 */
	};

	sec-phcomp {
		compatible = "samsung,phcomp";

		/* Order Table  [0]  [1]  [2]  [3]  [4]  [5]  [6]  [7]  [8]  [9]  [10]> */
		trigger-tbl = <1000 1000 970 980 990 1000 1000 1000 1000 1000 1000>;

		idle,time = <10000>;  /* ms */
		exec,time = <   20>;  /* ms */
	};

	i2c@13890000 {
		samsung,i2c-sda-delay = <100>;
		samsung,i2c-max-bus-freq = <400000>;
		status = "okay";
		touchscreen@20 {
			compatible = "zinitix,bt532_ts_device";
			reg = <0x20>;
			pinctrl-names = "on_state", "off_state";
			pinctrl-0 = <&attn_irq>;
			pinctrl-1 = <&attn_input>;
			zinitix,irq_gpio = <&gpa0 6 0>;
			zinitix,gpio_ldo_en;
			zinitix,regulator_avdd = "tsp_avdd";
			zinitix,x_resolution = <720>;
			zinitix,y_resolution = <1480>;
			zinitix,area-size = <48 96 60>; /* indicator: 24dp navigator:48dp edge:60px dpi=320*/
			zinitix,page_size = <128>;
			zinitix,chip_name = "ZT7548";
			zinitix,firmware_name = "tsp_zinitix/zt7548_j6.fw";
			/* zinitix,spay = "true"; */
			/* zinitix,aod = "true"; */
			zinitix,tclm_level = <0x01>;
			zinitix,afe_base = <0x0000>;
			zinitix,mis_cal_check = "true";
			zinitix,factory_item_version = <2>;
		};
	};
};
